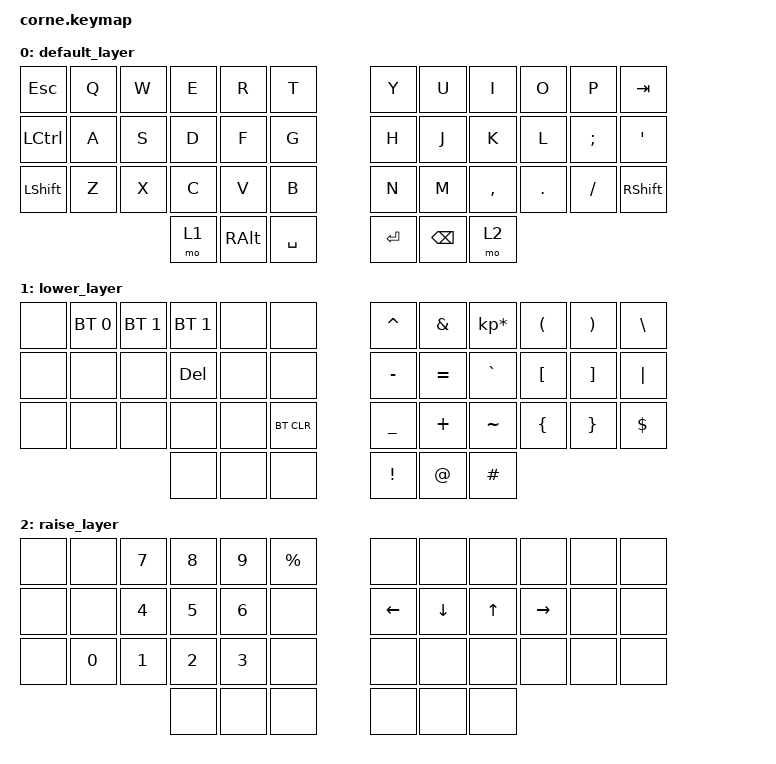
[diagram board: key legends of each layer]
/*
 * Copyright (c) 2020 The ZMK Contributors
 *
 * SPDX-License-Identifier: MIT
 */

#include <behaviors.dtsi>
#include <dt-bindings/zmk/keys.h>
#include <dt-bindings/zmk/bt.h>

/ {
        keymap {
                compatible = "zmk,keymap";

                default_layer {
// -----------------------------------------------------------------------------------------
// |  ESC |  Q  |  W  |  E  |  R  |  T  |            |  Y  |  U   |  I   |  O  |  P  | TAB  |
// | CTRL |  A  |  S  |  D  |  F  |  G  |            |  H  |  J   |  K   |  L  |  ;  |  '   |
// | SHFT |  Z  |  X  |  C  |  V  |  B  |            |  N  |  M   |  ,   |  .  |  /  | SHFT |
//                    | LWR | ALT | SPC |            | ENT | BKSP | RSE  | 
                        bindings = <
   &kp ESC    &kp Q &kp W &kp E &kp R    &kp T       &kp Y   &kp U    &kp I     &kp O   &kp P    &kp TAB
   &kp LCTRL  &kp A &kp S &kp D &kp F    &kp G       &kp H   &kp J    &kp K     &kp L   &kp SEMI &kp SQT
   &kp LSHIFT &kp Z &kp X &kp C &kp V    &kp B       &kp N   &kp M    &kp COMMA &kp DOT &kp FSLH &kp RSHIFT
                          &mo 1 &kp RALT &kp SPACE   &kp RET &kp BSPC &mo 2
                        >;
                };
                lower_layer {
// -----------------------------------------------------------------------------------------
// | | BT 2 | BT 1 | BT 2 | |            |                         |  ^  |  &  |  *  |  (  |  )  |   \   |
// | |      |      | DEL  | |            |                         |  -  |  =  |  `  |  [  |  ]  |  "|"  |
// | |      |      |      | | BT_CLR     |                         |  _  |  +  |  ~  |  {  |  }  |   $   |
//                 |      | |            |                         |  !  |  @  |  #  |
                        bindings = <
   &none &bt BT_SEL 0 &bt BT_SEL 1 &bt BT_SEL 1 &none &none                &kp CARET &kp AMPS  &kp KP_MULTIPLY &kp LPAR &kp RPAR &kp BSLH
   &none &none        &none        &kp DEL      &none &none                &kp MINUS &kp EQUAL &kp GRAVE       &kp LBKT &kp RBKT &kp PIPE
   &none &none        &none        &none        &none &bt BT_CLR           &kp UNDER &kp PLUS  &kp TILDE       &kp LBRC &kp RBRC &kp DLLR
                                   &none        &none &none                &kp EXCL  &kp AT    &kp HASH
                        >;
                };

                raise_layer {
// -----------------------------------------------------------------------------------------
// |   | 7 | 8 | 9 |   | % |                    |     |     |     |     | | |
// |   | 4 | 5 | 6 |   |   |                    | LFT | DWN | UP  | RGT | | |
// | 0 | 1 | 2 | 3 |   |   |                    |     |     |     |     | | |
//             |   |   |   |                    |     |     |     |
                        bindings = <
   &none &none  &kp N7 &kp N8 &kp N9 &kp PRCNT  &none    &none    &none  &none     &none &none
   &none &none  &kp N4 &kp N5 &kp N6 &none      &kp LEFT &kp DOWN &kp UP &kp RIGHT &none &none
   &none &kp N0 &kp N1 &kp N2 &kp N3 &none      &none    &none    &none  &none     &none &none
                       &none  &none  &none      &none    &none    &none
                        >;
                };
        };
};
